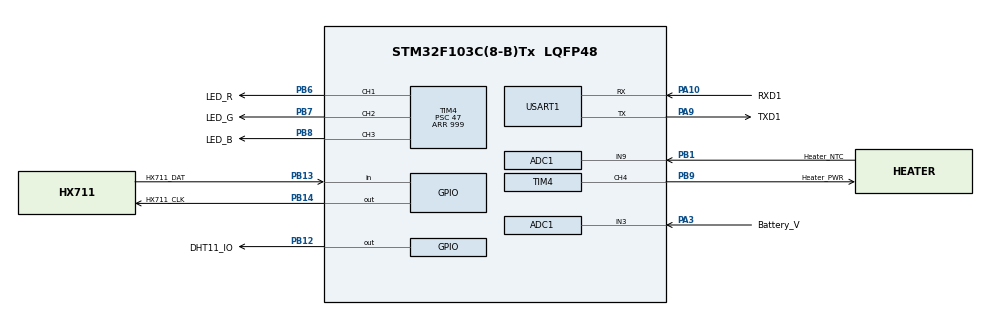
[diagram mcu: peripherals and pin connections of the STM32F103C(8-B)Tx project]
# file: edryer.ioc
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ADC1.Channel-21\#ChannelRegularConversion=ADC_CHANNEL_3
ADC1.Channel-22\#ChannelRegularConversion=ADC_CHANNEL_9
ADC1.ContinuousConvMode=ENABLE
ADC1.NbrOfConversion=2
ADC1.NbrOfConversionFlag=1
ADC1.Rank-21\#ChannelRegularConversion=1
ADC1.Rank-22\#ChannelRegularConversion=2
ADC1.SamplingTime-21\#ChannelRegularConversion=ADC_SAMPLETIME_13CYCLES_5
ADC1.SamplingTime-22\#ChannelRegularConversion=ADC_SAMPLETIME_13CYCLES_5
ADC1.master=1
Dma.ADC1.0.Direction=DMA_PERIPH_TO_MEMORY
Dma.ADC1.0.Instance=DMA1_Channel1
Dma.ADC1.0.MemDataAlignment=DMA_MDATAALIGN_HALFWORD
Dma.ADC1.0.MemInc=DMA_MINC_ENABLE
Dma.ADC1.0.Mode=DMA_CIRCULAR
Dma.ADC1.0.PeriphDataAlignment=DMA_PDATAALIGN_HALFWORD
Dma.ADC1.0.PeriphInc=DMA_PINC_DISABLE
Dma.ADC1.0.Priority=DMA_PRIORITY_MEDIUM
Dma.Request0=ADC1
Mcu.Family=STM32F1
Mcu.Name=STM32F103C(8-B)Tx
Mcu.Package=LQFP48
NVIC.DMA1_Channel1_IRQn=true\:0\:1\:true\:false\:true\:false\:false\:true
NVIC.PriorityGroup=NVIC_PRIORITYGROUP_2
NVIC.USART1_IRQn=true\:1\:0\:true\:false\:true\:true\:true\:true
PA0-WKUP.GPIO_Label=WKUP
PA0-WKUP.Mode=SYS_WakeUp0
PA0-WKUP.Signal=SYS_WKUP
PA10.GPIO_Label=RXD1
PA10.Mode=Asynchronous
PA10.Signal=USART1_RX
PA13.Mode=Serial_Wire
PA13.Signal=SYS_JTMS-SWDIO
PA14.Mode=Serial_Wire
PA14.Signal=SYS_JTCK-SWCLK
PA3.GPIO_Label=Battery_V
PA3.Signal=ADCx_IN3
PA9.GPIO_Label=TXD1
PA9.Mode=Asynchronous
PA9.Signal=USART1_TX
PB1.GPIO_Label=Heater_NTC
PB1.Signal=ADCx_IN9
PB12.GPIO_Label=DHT11_IO
PB12.GPIO_ModeDefaultOutputPP=GPIO_MODE_OUTPUT_OD
PB12.GPIO_PuPd=GPIO_PULLUP
PB12.GPIO_Speed=GPIO_SPEED_FREQ_HIGH
PB12.PinState=GPIO_PIN_SET
PB12.Signal=GPIO_Output
PB13.GPIO_Label=HX711_DAT
PB13.Signal=GPIO_Input
PB14.GPIO_Label=HX711_CLK
PB14.Signal=GPIO_Output
PB6.GPIO_Label=LED_R
PB6.Signal=S_TIM4_CH1
PB7.GPIO_Label=LED_G
PB7.Signal=S_TIM4_CH2
PB8.GPIO_Label=LED_B
PB8.Signal=S_TIM4_CH3
PB9.GPIO_Label=Heater_PWR
PB9.Signal=S_TIM4_CH4
PD0-OSC_IN.Mode=HSE-External-Oscillator
PD0-OSC_IN.Signal=RCC_OSC_IN
PD1-OSC_OUT.Mode=HSE-External-Oscillator
PD1-OSC_OUT.Signal=RCC_OSC_OUT
ProjectManager.HeapSize=0x200
ProjectManager.StackSize=0x400
ProjectManager.TargetToolchain=MDK-ARM V5.32
RCC.ADCPresc=RCC_ADCPCLK2_DIV4
RCC.AHBFreq_Value=48000000
RCC.APB1CLKDivider=RCC_HCLK_DIV2
RCC.APB1Freq_Value=24000000
RCC.APB1TimFreq_Value=48000000
RCC.APB2Freq_Value=48000000
RCC.APB2TimFreq_Value=48000000
RCC.HCLKFreq_Value=48000000
RCC.PLLMUL=RCC_PLL_MUL6
RCC.PLLSourceVirtual=RCC_PLLSOURCE_HSE
RCC.PREFETCH_ENABLE=1
RCC.SYSCLKFreq_VALUE=48000000
RCC.SYSCLKSource=RCC_SYSCLKSOURCE_PLLCLK
RCC.USBFreq_Value=48000000
SH.ADCx_IN3.0=ADC1_IN3,IN3
SH.ADCx_IN9.0=ADC1_IN9,IN9
SH.S_TIM4_CH1.0=TIM4_CH1,PWM Generation1 CH1
SH.S_TIM4_CH2.0=TIM4_CH2,PWM Generation2 CH2
SH.S_TIM4_CH3.0=TIM4_CH3,PWM Generation3 CH3
SH.S_TIM4_CH4.0=TIM4_CH4,PWM Generation4 CH4
TIM3.AutoReloadPreload=TIM_AUTORELOAD_PRELOAD_DISABLE
TIM3.Period=2
TIM3.Prescaler=47
TIM4.AutoReloadPreload=TIM_AUTORELOAD_PRELOAD_ENABLE
TIM4.Channel-PWM\ Generation1\ CH1=TIM_CHANNEL_1
TIM4.Channel-PWM\ Generation2\ CH2=TIM_CHANNEL_2
TIM4.Channel-PWM\ Generation3\ CH3=TIM_CHANNEL_3
TIM4.Channel-PWM\ Generation4\ CH4=TIM_CHANNEL_4
TIM4.Period=999
TIM4.Prescaler=47
USART1.VirtualMode=VM_ASYNC
VP_TIM3_VS_ClockSourceINT.Mode=Internal
board=custom

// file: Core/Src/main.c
/* USER CODE BEGIN Header */
/**
 ******************************************************************************
 * @file           : main.c
 * @brief          : Main program body
 ******************************************************************************
 * @attention
 *
 * Copyright (c) 2022 STMicroelectronics.
 * All rights reserved.
 *
 * This software is licensed under terms that can be found in the LICENSE file
 * in the root directory of this software component.
 * If no LICENSE file comes with this software, it is provided AS-IS.
 *
 ******************************************************************************
 */
/* USER CODE END Header */
#include "main.h"
#include "adc.h"
#include "dma.h"
#include "tim.h"
#include "usart.h"
#include "gpio.h"

/* USER CODE BEGIN Includes */
#include <stdio.h>
#include <string.h>
/* USER CODE END Includes */

/* USER CODE BEGIN PTD */
typedef uint8_t errCodeType;
/* USER CODE END PTD */

/* USER CODE BEGIN PD */
#define retryTime 5
/* USER CODE END PD */

/* USER CODE BEGIN PM */
#define DHT11_IN (LL_GPIO_IsInputPinSet(DHT11_IO_GPIO_Port, DHT11_IO_Pin))
#define delay_sec(x) (LL_mDelay(x * 1000))
/* USER CODE END PM */

/* USER CODE BEGIN PV */

const char AP_SSID[] = "";
const char AP_password[] = "";
const char Server_IP[] = "";
const uint16_t Server_port = 0;

errCodeType errCode = 0;

char uartRxBuffer[128];
uint8_t uartRxBufferIdx = 0;
uint8_t uartRxOKFlag = 0;

float dht11_tem, dht11_hum;

/* USER CODE END PV */

void SystemClock_Config(void);
/* USER CODE BEGIN PFP */
uint8_t WLAN_Init(void);
void delay_2us(uint32_t _time);

uint8_t DHT11_Init(void);
uint8_t DHT11_Read(float *temp, float *humi);
/* USER CODE END PFP */

int main(void)
{

  /* MCU Configuration--------------------------------------------------------*/

  /* Reset of all peripherals, Initializes the Flash interface and the Systick. */
  LL_APB2_GRP1_EnableClock(LL_APB2_GRP1_PERIPH_AFIO);
  LL_APB1_GRP1_EnableClock(LL_APB1_GRP1_PERIPH_PWR);

  /* System interrupt init*/
  NVIC_SetPriorityGrouping(NVIC_PRIORITYGROUP_2);

  /** NOJTAG: JTAG-DP Disabled and SW-DP Enabled
  */
  LL_GPIO_AF_Remap_SWJ_NOJTAG();

  /* Configure the system clock */
  SystemClock_Config();

  /* Initialize all configured peripherals */
  MX_GPIO_Init();
  MX_DMA_Init();
  MX_TIM4_Init();
  MX_ADC1_Init();
  MX_USART1_UART_Init();
  MX_TIM3_Init();
  /* USER CODE BEGIN 2 */
    WLAN_Init();
    printf("Init OK");
  /* USER CODE END 2 */

  /* Infinite loop */
  /* USER CODE BEGIN WHILE */
    while (1)
    {
        errCode = DHT11_Read(&dht11_tem, &dht11_hum);
        if (!errCode)
            printf("T=%.2lf,H=%.2lf", dht11_tem, dht11_hum);
        delay_sec(3);
    /* USER CODE END WHILE */

    }
}

void SystemClock_Config(void)
{
  LL_FLASH_SetLatency(LL_FLASH_LATENCY_1);
  while(LL_FLASH_GetLatency()!= LL_FLASH_LATENCY_1)
  {
  }
  LL_RCC_HSE_Enable();

   /* Wait till HSE is ready */
  while(LL_RCC_HSE_IsReady() != 1)
  {

  }
  LL_RCC_PLL_ConfigDomain_SYS(LL_RCC_PLLSOURCE_HSE_DIV_1, LL_RCC_PLL_MUL_6);
  LL_RCC_PLL_Enable();

   /* Wait till PLL is ready */
  while(LL_RCC_PLL_IsReady() != 1)
  {

  }
  LL_RCC_SetAHBPrescaler(LL_RCC_SYSCLK_DIV_1);
  LL_RCC_SetAPB1Prescaler(LL_RCC_APB1_DIV_2);
  LL_RCC_SetAPB2Prescaler(LL_RCC_APB2_DIV_1);
  LL_RCC_SetSysClkSource(LL_RCC_SYS_CLKSOURCE_PLL);

   /* Wait till System clock is ready */
  while(LL_RCC_GetSysClkSource() != LL_RCC_SYS_CLKSOURCE_STATUS_PLL)
  {

  }
  LL_Init1msTick(48000000);
  LL_SetSystemCoreClock(48000000);
  LL_RCC_SetADCClockSource(LL_RCC_ADC_CLKSRC_PCLK2_DIV_4);
}

/* USER CODE BEGIN 4 */

int fputc(int ch, FILE *f)
{
    while (!LL_USART_IsActiveFlag_TXE(USART1))
        ;
    LL_USART_TransmitData8(USART1, (uint8_t)ch);
    return ch;
}

/**
 * @brief WiFi Module Initialization
 *
 * @return uint8_t Error Type
 */
errCodeType WLAN_Init(void)
{
    uint8_t retry;

    /* Restore & Restart */
    /* at+restore*/
    printf("at+restore\r\n");
    LL_mDelay(3500);

    /* Open WiFi station mode */
    /* at+cwmode=1 */
    retry = retryTime;
    while (retry--)
    {
        printf("at+cwmode=1\r\n");
        LL_mDelay(500);

        if ((!strcmp(uartRxBuffer, "ok")) || (!strcmp(uartRxBuffer, "OK")))
            break;
        if (!retry)
            return 2;
    }

    /* Change TCP socket to passthrough mode */
    /* at+cipmode=1 */
    retry = 5;
    while (retry--)
    {
        printf("at+cipmode=1\r\n");
        LL_mDelay(500);

        if ((!strcmp(uartRxBuffer, "ok")) || (!strcmp(uartRxBuffer, "OK")))
            break;
        if (!retry)
            return 3;
    }

    /* Connect to the WiFi */
    /* at+cwjap="%AP_SSID","%AP_password" */
    retry = 5;
    while (retry--)
    {
        printf("at+cwjap=\"%s\",\"%s\"\r\n", AP_SSID, AP_password);
        LL_mDelay(2500);

        if ((!strcmp(uartRxBuffer, "ok")) || (!strcmp(uartRxBuffer, "OK")))
            break;
        if (!retry)
            return 4;
    }

    /* Start TCP socket */
    /* at+cipstart="TCP","%Server_IP",%Server_port */
    retry = 5;
    while (retry--)
    {
        printf("at+cipstart=\"TCP\",\"%s\",%u\r\n", Server_IP, Server_port);
        LL_mDelay(2500);

        if ((!strcmp(uartRxBuffer, "ok")) || (!strcmp(uartRxBuffer, "OK")))
            break;
        if (!retry)
            return 5;
    }

    /* Start passthrough transfer */
    /* at+cipsend */
    printf("at+cipsend\r\n");
    LL_mDelay(500);

    return 0;
}

/**
 * @brief DHT11 Module Receive Data
 *
 * @param temp Tempreutare
 * @param humi Humidity
 * @return uint8_t Error Type
 */
errCodeType DHT11_Read(float *temp, float *humi)
{
    uint8_t retry;
    uint8_t datIdx, binIdx, dat[5];

    /* Init Bus */
    LL_GPIO_SetOutputPin(DHT11_IO_GPIO_Port, DHT11_IO_Pin);
    delay_sec(1);
    LL_GPIO_ResetOutputPin(DHT11_IO_GPIO_Port, DHT11_IO_Pin);
    LL_mDelay(24);
    LL_GPIO_SetOutputPin(DHT11_IO_GPIO_Port, DHT11_IO_Pin);
    delay_2us(15);

    /* Device Detect */
    if (DHT11_IN)
        return 2;
    while (!DHT11_IN)
        ;
    while (DHT11_IN)
        ;

    /* Data Transfer */
    for (datIdx = 0; datIdx < 5; datIdx++)
    {
        for (binIdx = 0; binIdx < 8; binIdx++)
        {
            dat[datIdx] <<= 1;
            while (!DHT11_IN)
                ;
            delay_2us(20);
            dat[datIdx] |= DHT11_IN;
            while (DHT11_IN)
                ;
        }
    }
    if ((dat[0] + dat[1] + dat[2] + dat[3]) == dat[4])
    {
        (*humi) = (1.0 * dat[0]);
        (*temp) = (1.0 * dat[2] + 0.01 * dat[3]);
    }
    else
        return 1;
    return 0;
}

/**
 * @brief UART Variable Length Receive Interupt Response
 *
 */
void uart_ReceiveIRQ(void)
{
    uint8_t ch = LL_USART_ReceiveData8(USART1);

    if (uartRxBuffer[uartRxBufferIdx - 1] == (uint8_t)('\r') && ch == (uint8_t)('\n'))
    {
        uartRxBuffer[uartRxBufferIdx - 1] = 0;
        uartRxBufferIdx = 0;
        uartRxOKFlag = 1;
    }
    else
        uartRxBuffer[uartRxBufferIdx++] = ch;
}

/**
 * @brief Accurate delay in microseconds based on TIM3 update flag
 *
 * @param _time Delay time in microseconds
 */
void delay_2us(uint32_t _time)
{

    while (_time--)
    {
        LL_TIM_ClearFlag_UPDATE(TIM3);
        LL_TIM_EnableCounter(TIM3);
        while (!LL_TIM_IsActiveFlag_UPDATE(TIM3))
            ;
    }
}

/* USER CODE END 4 */

void Error_Handler(void)
{
    __disable_irq();
    while (1)
    {
    }
}
